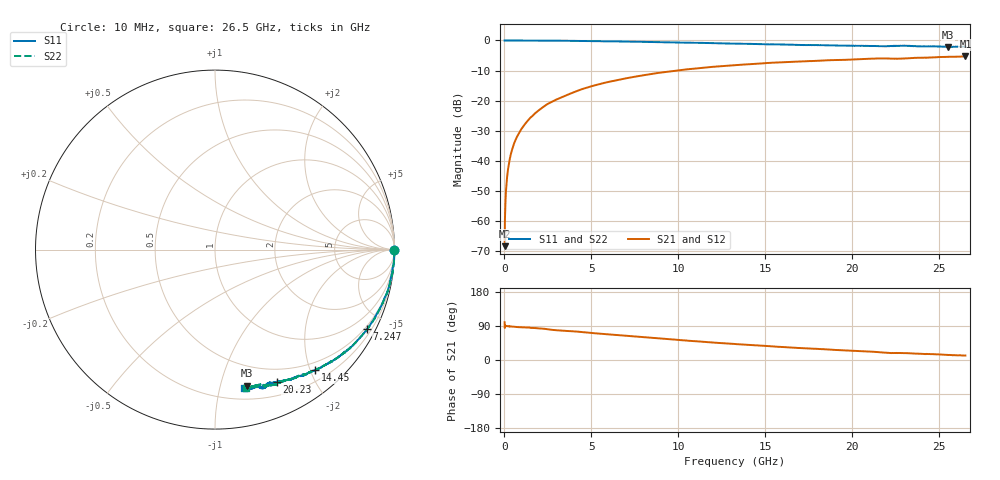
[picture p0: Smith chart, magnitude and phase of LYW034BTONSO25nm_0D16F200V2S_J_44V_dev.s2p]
!Keysight Technologies,N5222B,MY61253708,A.15.00.15
!Date: Wednesday, June 19, 2024 09:02:49
!Correction: S11(C  2-Port  )
!S21(C  2-Port  )
!S12(C  2-Port  )
!S22(C  2-Port  )
!S2P File: Measurements: S11, S21, S12, S22:
# Hz S  RI  R 50
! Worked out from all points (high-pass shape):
!   2651 points, 10 MHz to 26.5 GHz, reference 50 ohm
!   highest |S21| = -5.27 dB at 26.5 GHz (marker M1); lowest = -68.3 dB at 10 MHz (marker M2)
!   |S21| within 3 dB of the highest: 13.06455 GHz to 13.06669 GHz (2.147 MHz wide, 0.0164 % of centre); 13.1 GHz to end of sweep
!   lowest |S11| = -2.2 dB at 25.5 GHz (marker M3), VSWR 8.05, Z = 15.7 - j60.6 ohm
!   |S11| at or under -10 dB: nowhere
!   |S22| runs from -2.1 to 0.0 dB; largest |S21 - S12| = 0.0075
!   S11 on the Smith chart (normalised r, x): 10 MHz: open; 7.247 GHz: 0.39, -4.04; 14.45 GHz: 0.36, -2.07; 20.23 GHz: 0.34, -1.51; 26.5 GHz: 0.29, -1.19
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1e7  0.9987 -0.00247  -6.42e-05 0.000378  -0.000312 0.000287  0.9984 -0.000678
6.997736e7  1 -0.00529  1.6e-05 0.00247  3.08e-06 0.00248  0.9996 -0.00484
1.599434e8  0.9998 -0.0118  6.38e-05 0.00559  7.21e-05 0.00564  0.9996 -0.0111
2.099245e8  0.9997 -0.0149  0.000135 0.00738  0.000103 0.00741  0.9994 -0.0142
2.699019e8  0.9996 -0.0192  0.000184 0.00943  0.000145 0.0095  0.9998 -0.0184
3.698642e8  0.9994 -0.0266  0.000337 0.013  0.000371 0.0131  0.9992 -0.0256
4.998151e8  0.9989 -0.0353  0.00062 0.0175  0.000615 0.0176  0.999 -0.034
6.597547e8  0.9981 -0.046  0.00105 0.023  0.00104 0.0232  0.9983 -0.0446
8.596792e8  0.9978 -0.0598  0.00176 0.0298  0.00175 0.0301  0.9973 -0.0592
1.469449e9  0.9897 -0.1031  0.00436 0.0513  0.00438 0.0515  0.9924 -0.0987
2.349117e9  0.9797 -0.1591  0.0115 0.0825  0.0118 0.083  0.9812 -0.1588
3.208792e9  0.9667 -0.2158  0.0236 0.1092  0.0238 0.1099  0.9673 -0.214
4.428332e9  0.9367 -0.2905  0.0427 0.1482  0.0431 0.1491  0.9387 -0.2868
7.247268e9  0.8476 -0.4429  0.1109 0.216  0.1121 0.2166  0.8504 -0.4402
8.846664e9  0.7864 -0.5135  0.1569 0.2428  0.1582 0.2436  0.7894 -0.5107
1.3255e10  0.6037 -0.6481  0.2884 0.2615  0.2905 0.2615  0.6092 -0.6458
1.445455e10  0.5574 -0.6728  0.3191 0.2564  0.3209 0.2561  0.5622 -0.6672
1.767333e10  0.428 -0.7197  0.3941 0.2275  0.3973 0.2264  0.4419 -0.7172
2.023237e10  0.3429 -0.7386  0.444 0.1968  0.4458 0.1956  0.3589 -0.7384
2.209166e10  0.2946 -0.7458  0.4739 0.1611  0.4753 0.1592  0.2915 -0.753
2.550038e10  0.1777 -0.7585  0.5201 0.122  0.5215 0.1232  0.2009 -0.7642
2.65e10  0.1597 -0.7731  0.5335 0.1112  0.5326 0.1085  0.1746 -0.7735
